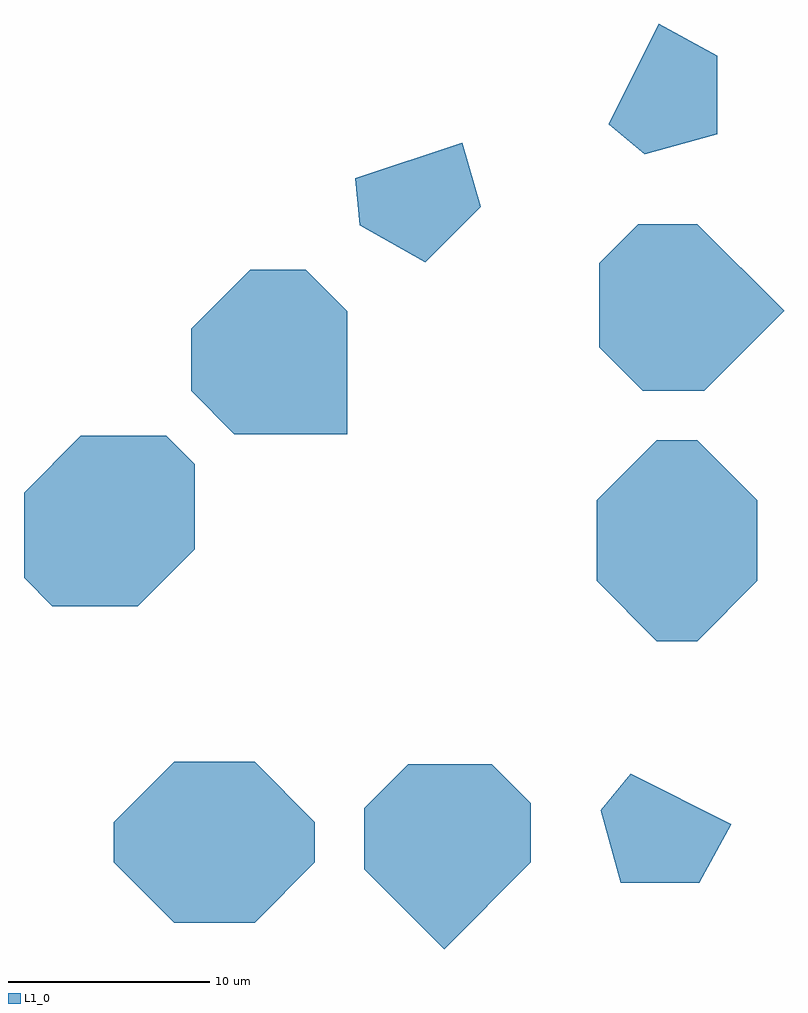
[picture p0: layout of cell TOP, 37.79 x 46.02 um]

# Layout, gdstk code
from math import pi, radians
import gdstk
lib = gdstk.Library(unit=1e-6, precision=1e-09)
def P(c, l, *ps):  # polygons
    for p in ps: c.add(gdstk.Polygon(p, *l))
L1_0 = (1, 0)
L1000_0 = (1000, 0)
L1001_0 = (1001, 0)
L1002_0 = (1002, 0)
L1003_0 = (1003, 0)
L1004_0 = (1004, 0)
L1005_0 = (1005, 0)

inside = lib.new_cell('INSIDE')
P(inside, L1_0, [(3,1.319),(0,4.319),(0,6.319),(3,9.319),(7,9.319),(10,6.319),(10,4.319),(7,1.319)],
  [(16.419,0),(12.45,3.969),(12.45,7.019),(14.625,9.194),(18.8,9.194),(20.738,7.256),(20.738,4.319)],
  [(25.2,3.319),(24.2,6.919),(25.7,8.719),(30.7,6.219),(29.1,3.319)])

top = lib.new_cell('TOP')
top.add(gdstk.FlexPath([(29.1,2),(25.2,2)], 0, ends="flush", simple_path=True, layer=1000, datatype=0))  # L1000_0
top.add(gdstk.FlexPath([(12.45,2.65),(12.45,5.7)], 0, ends="flush", simple_path=True, layer=1000, datatype=0))  # L1000_0
top.add(gdstk.FlexPath([(14.625,7.875),(18.8,7.875)], 0, ends="flush", simple_path=True, layer=1000, datatype=0))  # L1000_0
top.add(gdstk.FlexPath([(20.738,5.937),(20.738,3)], 0, ends="flush", simple_path=True, layer=1000, datatype=0))  # L1000_0
top.add(gdstk.FlexPath([(0,3),(0,5)], 0, ends="flush", simple_path=True, layer=1000, datatype=0))  # L1000_0
top.add(gdstk.FlexPath([(3,8),(7,8)], 0, ends="flush", simple_path=True, layer=1000, datatype=0))  # L1000_0
top.add(gdstk.FlexPath([(10,5),(10,3)], 0, ends="flush", simple_path=True, layer=1000, datatype=0))  # L1000_0
top.add(gdstk.FlexPath([(7,0),(3,0)], 0, ends="flush", simple_path=True, layer=1000, datatype=0))  # L1000_0
top.add(gdstk.FlexPath([(24,17),(24,21)], 0, ends="flush", simple_path=True, layer=1000, datatype=0))  # L1000_0
top.add(gdstk.FlexPath([(27,24),(29,24)], 0, ends="flush", simple_path=True, layer=1000, datatype=0))  # L1000_0
top.add(gdstk.FlexPath([(32,21),(32,17)], 0, ends="flush", simple_path=True, layer=1000, datatype=0))  # L1000_0
top.add(gdstk.FlexPath([(29,14),(27,14)], 0, ends="flush", simple_path=True, layer=1000, datatype=0))  # L1000_0
top.add(gdstk.FlexPath([(-4.468,17.149),(-4.468,21.392)], 0, ends="flush", simple_path=True, layer=1000, datatype=0))  # L1000_0
top.add(gdstk.FlexPath([(-1.64,24.22),(2.603,24.22)], 0, ends="flush", simple_path=True, layer=1000, datatype=0))  # L1000_0
top.add(gdstk.FlexPath([(4.017,22.806),(4.017,18.563)], 0, ends="flush", simple_path=True, layer=1000, datatype=0))  # L1000_0
top.add(gdstk.FlexPath([(1.189,15.735),(-3.054,15.735)], 0, ends="flush", simple_path=True, layer=1000, datatype=0))  # L1000_0
top.add(gdstk.FlexPath([(3.84,26.448),(3.84,29.524)], 0, ends="flush", simple_path=True, layer=1000, datatype=0))  # L1000_0
top.add(gdstk.FlexPath([(6.792,32.476),(9.533,32.476)], 0, ends="flush", simple_path=True, layer=1000, datatype=0))  # L1000_0
top.add(gdstk.FlexPath([(11.61,30.399),(11.61,24.291)], 0, ends="flush", simple_path=True, layer=1000, datatype=0))  # L1000_0
top.add(gdstk.FlexPath([(11.61,24.291),(5.997,24.291)], 0, ends="flush", simple_path=True, layer=1000, datatype=0))  # L1000_0
top.add(gdstk.FlexPath([(24.125,28.625),(24.125,32.8)], 0, ends="flush", simple_path=True, layer=1000, datatype=0))  # L1000_0
top.add(gdstk.FlexPath([(26.063,34.738),(29,34.738)], 0, ends="flush", simple_path=True, layer=1000, datatype=0))  # L1000_0
top.add(gdstk.FlexPath([(29.35,26.45),(26.3,26.45)], 0, ends="flush", simple_path=True, layer=1000, datatype=0))  # L1000_0
top.add(gdstk.FlexPath([(30,43.1),(30,39.2)], 0, ends="flush", simple_path=True, layer=1000, datatype=0))  # L1000_0
top.add(gdstk.FlexPath([(25.2,2),(24.2,5.6)], 0, ends="flush", simple_path=True, layer=1001, datatype=0))  # L1001_0
top.add(gdstk.FlexPath([(24.2,5.6),(25.7,7.4)], 0, ends="flush", simple_path=True, layer=1001, datatype=0))  # L1001_0
top.add(gdstk.FlexPath([(25.7,7.4),(30.7,4.9)], 0, ends="flush", simple_path=True, layer=1001, datatype=0))  # L1001_0
top.add(gdstk.FlexPath([(30.7,4.9),(29.1,2)], 0, ends="flush", simple_path=True, layer=1001, datatype=0))  # L1001_0
top.add(gdstk.FlexPath([(16.419,-1.319),(12.45,2.65)], 0, ends="flush", simple_path=True, layer=1001, datatype=0))  # L1001_0
top.add(gdstk.FlexPath([(12.45,5.7),(14.625,7.875)], 0, ends="flush", simple_path=True, layer=1001, datatype=0))  # L1001_0
top.add(gdstk.FlexPath([(18.8,7.875),(20.738,5.937)], 0, ends="flush", simple_path=True, layer=1001, datatype=0))  # L1001_0
top.add(gdstk.FlexPath([(20.738,3),(16.419,-1.319)], 0, ends="flush", simple_path=True, layer=1001, datatype=0))  # L1001_0
top.add(gdstk.FlexPath([(3,0),(0,3)], 0, ends="flush", simple_path=True, layer=1001, datatype=0))  # L1001_0
top.add(gdstk.FlexPath([(0,5),(3,8)], 0, ends="flush", simple_path=True, layer=1001, datatype=0))  # L1001_0
top.add(gdstk.FlexPath([(7,8),(10,5)], 0, ends="flush", simple_path=True, layer=1001, datatype=0))  # L1001_0
top.add(gdstk.FlexPath([(10,3),(7,0)], 0, ends="flush", simple_path=True, layer=1001, datatype=0))  # L1001_0
top.add(gdstk.FlexPath([(27,14),(24,17)], 0, ends="flush", simple_path=True, layer=1001, datatype=0))  # L1001_0
top.add(gdstk.FlexPath([(24,21),(27,24)], 0, ends="flush", simple_path=True, layer=1001, datatype=0))  # L1001_0
top.add(gdstk.FlexPath([(29,24),(32,21)], 0, ends="flush", simple_path=True, layer=1001, datatype=0))  # L1001_0
top.add(gdstk.FlexPath([(32,17),(29,14)], 0, ends="flush", simple_path=True, layer=1001, datatype=0))  # L1001_0
top.add(gdstk.FlexPath([(-3.054,15.735),(-4.468,17.149)], 0, ends="flush", simple_path=True, layer=1001, datatype=0))  # L1001_0
top.add(gdstk.FlexPath([(-4.468,21.392),(-1.64,24.22)], 0, ends="flush", simple_path=True, layer=1001, datatype=0))  # L1001_0
top.add(gdstk.FlexPath([(2.603,24.22),(4.017,22.806)], 0, ends="flush", simple_path=True, layer=1001, datatype=0))  # L1001_0
top.add(gdstk.FlexPath([(4.017,18.563),(1.189,15.735)], 0, ends="flush", simple_path=True, layer=1001, datatype=0))  # L1001_0
top.add(gdstk.FlexPath([(5.997,24.291),(3.84,26.448)], 0, ends="flush", simple_path=True, layer=1001, datatype=0))  # L1001_0
top.add(gdstk.FlexPath([(3.84,29.524),(6.792,32.476)], 0, ends="flush", simple_path=True, layer=1001, datatype=0))  # L1001_0
top.add(gdstk.FlexPath([(9.533,32.476),(11.61,30.399)], 0, ends="flush", simple_path=True, layer=1001, datatype=0))  # L1001_0
top.add(gdstk.FlexPath([(26.3,26.45),(24.125,28.625)], 0, ends="flush", simple_path=True, layer=1001, datatype=0))  # L1001_0
top.add(gdstk.FlexPath([(24.125,32.8),(26.063,34.738)], 0, ends="flush", simple_path=True, layer=1001, datatype=0))  # L1001_0
top.add(gdstk.FlexPath([(29,34.738),(33.319,30.419)], 0, ends="flush", simple_path=True, layer=1001, datatype=0))  # L1001_0
top.add(gdstk.FlexPath([(33.319,30.419),(29.35,26.45)], 0, ends="flush", simple_path=True, layer=1001, datatype=0))  # L1001_0
top.add(gdstk.FlexPath([(15.472,32.847),(12.22,34.685)], 0, ends="flush", simple_path=True, layer=1001, datatype=0))  # L1001_0
top.add(gdstk.FlexPath([(12.22,34.685),(12.007,37.019)], 0, ends="flush", simple_path=True, layer=1001, datatype=0))  # L1001_0
top.add(gdstk.FlexPath([(12.007,37.019),(17.311,38.787)], 0, ends="flush", simple_path=True, layer=1001, datatype=0))  # L1001_0
top.add(gdstk.FlexPath([(17.311,38.787),(18.23,35.605)], 0, ends="flush", simple_path=True, layer=1001, datatype=0))  # L1001_0
top.add(gdstk.FlexPath([(18.23,35.605),(15.472,32.847)], 0, ends="flush", simple_path=True, layer=1001, datatype=0))  # L1001_0
top.add(gdstk.FlexPath([(26.4,38.2),(24.6,39.7)], 0, ends="flush", simple_path=True, layer=1001, datatype=0))  # L1001_0
top.add(gdstk.FlexPath([(24.6,39.7),(27.1,44.7)], 0, ends="flush", simple_path=True, layer=1001, datatype=0))  # L1001_0
top.add(gdstk.FlexPath([(27.1,44.7),(30,43.1)], 0, ends="flush", simple_path=True, layer=1001, datatype=0))  # L1001_0
top.add(gdstk.FlexPath([(30,39.2),(26.4,38.2)], 0, ends="flush", simple_path=True, layer=1001, datatype=0))  # L1001_0
top.add(gdstk.FlexPath([(29.1,2),(25.2,2)], 0, ends="flush", simple_path=True, layer=1002, datatype=0))  # L1002_0
top.add(gdstk.FlexPath([(16.419,-1.319),(12.45,2.65)], 0, ends="flush", simple_path=True, layer=1002, datatype=0))  # L1002_0
top.add(gdstk.FlexPath([(12.45,2.65),(12.45,5.7)], 0, ends="flush", simple_path=True, layer=1002, datatype=0))  # L1002_0
top.add(gdstk.FlexPath([(12.45,5.7),(14.625,7.875)], 0, ends="flush", simple_path=True, layer=1002, datatype=0))  # L1002_0
top.add(gdstk.FlexPath([(14.625,7.875),(18.8,7.875)], 0, ends="flush", simple_path=True, layer=1002, datatype=0))  # L1002_0
top.add(gdstk.FlexPath([(18.8,7.875),(20.738,5.937)], 0, ends="flush", simple_path=True, layer=1002, datatype=0))  # L1002_0
top.add(gdstk.FlexPath([(20.738,5.937),(20.738,3)], 0, ends="flush", simple_path=True, layer=1002, datatype=0))  # L1002_0
top.add(gdstk.FlexPath([(20.738,3),(16.419,-1.319)], 0, ends="flush", simple_path=True, layer=1002, datatype=0))  # L1002_0
top.add(gdstk.FlexPath([(3,0),(0,3)], 0, ends="flush", simple_path=True, layer=1002, datatype=0))  # L1002_0
top.add(gdstk.FlexPath([(0,3),(0,5)], 0, ends="flush", simple_path=True, layer=1002, datatype=0))  # L1002_0
top.add(gdstk.FlexPath([(0,5),(3,8)], 0, ends="flush", simple_path=True, layer=1002, datatype=0))  # L1002_0
top.add(gdstk.FlexPath([(3,8),(7,8)], 0, ends="flush", simple_path=True, layer=1002, datatype=0))  # L1002_0
top.add(gdstk.FlexPath([(7,8),(10,5)], 0, ends="flush", simple_path=True, layer=1002, datatype=0))  # L1002_0
top.add(gdstk.FlexPath([(10,5),(10,3)], 0, ends="flush", simple_path=True, layer=1002, datatype=0))  # L1002_0
top.add(gdstk.FlexPath([(10,3),(7,0)], 0, ends="flush", simple_path=True, layer=1002, datatype=0))  # L1002_0
top.add(gdstk.FlexPath([(7,0),(3,0)], 0, ends="flush", simple_path=True, layer=1002, datatype=0))  # L1002_0
top.add(gdstk.FlexPath([(27,14),(24,17)], 0, ends="flush", simple_path=True, layer=1002, datatype=0))  # L1002_0
top.add(gdstk.FlexPath([(24,17),(24,21)], 0, ends="flush", simple_path=True, layer=1002, datatype=0))  # L1002_0
top.add(gdstk.FlexPath([(24,21),(27,24)], 0, ends="flush", simple_path=True, layer=1002, datatype=0))  # L1002_0
top.add(gdstk.FlexPath([(27,24),(29,24)], 0, ends="flush", simple_path=True, layer=1002, datatype=0))  # L1002_0
top.add(gdstk.FlexPath([(29,24),(32,21)], 0, ends="flush", simple_path=True, layer=1002, datatype=0))  # L1002_0
top.add(gdstk.FlexPath([(32,21),(32,17)], 0, ends="flush", simple_path=True, layer=1002, datatype=0))  # L1002_0
top.add(gdstk.FlexPath([(32,17),(29,14)], 0, ends="flush", simple_path=True, layer=1002, datatype=0))  # L1002_0
top.add(gdstk.FlexPath([(29,14),(27,14)], 0, ends="flush", simple_path=True, layer=1002, datatype=0))  # L1002_0
top.add(gdstk.FlexPath([(-3.054,15.735),(-4.468,17.149)], 0, ends="flush", simple_path=True, layer=1002, datatype=0))  # L1002_0
top.add(gdstk.FlexPath([(-4.468,17.149),(-4.468,21.392)], 0, ends="flush", simple_path=True, layer=1002, datatype=0))  # L1002_0
top.add(gdstk.FlexPath([(-4.468,21.392),(-1.64,24.22)], 0, ends="flush", simple_path=True, layer=1002, datatype=0))  # L1002_0
top.add(gdstk.FlexPath([(-1.64,24.22),(2.603,24.22)], 0, ends="flush", simple_path=True, layer=1002, datatype=0))  # L1002_0
top.add(gdstk.FlexPath([(2.603,24.22),(4.017,22.806)], 0, ends="flush", simple_path=True, layer=1002, datatype=0))  # L1002_0
top.add(gdstk.FlexPath([(4.017,22.806),(4.017,18.563)], 0, ends="flush", simple_path=True, layer=1002, datatype=0))  # L1002_0
top.add(gdstk.FlexPath([(4.017,18.563),(1.189,15.735)], 0, ends="flush", simple_path=True, layer=1002, datatype=0))  # L1002_0
top.add(gdstk.FlexPath([(1.189,15.735),(-3.054,15.735)], 0, ends="flush", simple_path=True, layer=1002, datatype=0))  # L1002_0
top.add(gdstk.FlexPath([(5.997,24.291),(3.84,26.448)], 0, ends="flush", simple_path=True, layer=1002, datatype=0))  # L1002_0
top.add(gdstk.FlexPath([(3.84,26.448),(3.84,29.524)], 0, ends="flush", simple_path=True, layer=1002, datatype=0))  # L1002_0
top.add(gdstk.FlexPath([(3.84,29.524),(6.792,32.476)], 0, ends="flush", simple_path=True, layer=1002, datatype=0))  # L1002_0
top.add(gdstk.FlexPath([(6.792,32.476),(9.533,32.476)], 0, ends="flush", simple_path=True, layer=1002, datatype=0))  # L1002_0
top.add(gdstk.FlexPath([(9.533,32.476),(11.61,30.399)], 0, ends="flush", simple_path=True, layer=1002, datatype=0))  # L1002_0
top.add(gdstk.FlexPath([(11.61,30.399),(11.61,24.291)], 0, ends="flush", simple_path=True, layer=1002, datatype=0))  # L1002_0
top.add(gdstk.FlexPath([(11.61,24.291),(5.997,24.291)], 0, ends="flush", simple_path=True, layer=1002, datatype=0))  # L1002_0
top.add(gdstk.FlexPath([(26.3,26.45),(24.125,28.625)], 0, ends="flush", simple_path=True, layer=1002, datatype=0))  # L1002_0
top.add(gdstk.FlexPath([(24.125,28.625),(24.125,32.8)], 0, ends="flush", simple_path=True, layer=1002, datatype=0))  # L1002_0
top.add(gdstk.FlexPath([(24.125,32.8),(26.063,34.738)], 0, ends="flush", simple_path=True, layer=1002, datatype=0))  # L1002_0
top.add(gdstk.FlexPath([(26.063,34.738),(29,34.738)], 0, ends="flush", simple_path=True, layer=1002, datatype=0))  # L1002_0
top.add(gdstk.FlexPath([(29,34.738),(33.319,30.419)], 0, ends="flush", simple_path=True, layer=1002, datatype=0))  # L1002_0
top.add(gdstk.FlexPath([(33.319,30.419),(29.35,26.45)], 0, ends="flush", simple_path=True, layer=1002, datatype=0))  # L1002_0
top.add(gdstk.FlexPath([(29.35,26.45),(26.3,26.45)], 0, ends="flush", simple_path=True, layer=1002, datatype=0))  # L1002_0
top.add(gdstk.FlexPath([(18.23,35.605),(15.472,32.847)], 0, ends="flush", simple_path=True, layer=1002, datatype=0))  # L1002_0
top.add(gdstk.FlexPath([(30,43.1),(30,39.2)], 0, ends="flush", simple_path=True, layer=1002, datatype=0))  # L1002_0
top.add(gdstk.FlexPath([(25.2,2),(24.2,5.6)], 0, ends="flush", simple_path=True, layer=1003, datatype=0))  # L1003_0
top.add(gdstk.FlexPath([(24.2,5.6),(25.7,7.4)], 0, ends="flush", simple_path=True, layer=1003, datatype=0))  # L1003_0
top.add(gdstk.FlexPath([(25.7,7.4),(30.7,4.9)], 0, ends="flush", simple_path=True, layer=1003, datatype=0))  # L1003_0
top.add(gdstk.FlexPath([(30.7,4.9),(29.1,2)], 0, ends="flush", simple_path=True, layer=1003, datatype=0))  # L1003_0
top.add(gdstk.FlexPath([(15.472,32.847),(12.22,34.685)], 0, ends="flush", simple_path=True, layer=1003, datatype=0))  # L1003_0
top.add(gdstk.FlexPath([(12.22,34.685),(12.007,37.019)], 0, ends="flush", simple_path=True, layer=1003, datatype=0))  # L1003_0
top.add(gdstk.FlexPath([(12.007,37.019),(17.311,38.787)], 0, ends="flush", simple_path=True, layer=1003, datatype=0))  # L1003_0
top.add(gdstk.FlexPath([(17.311,38.787),(18.23,35.605)], 0, ends="flush", simple_path=True, layer=1003, datatype=0))  # L1003_0
top.add(gdstk.FlexPath([(26.4,38.2),(24.6,39.7)], 0, ends="flush", simple_path=True, layer=1003, datatype=0))  # L1003_0
top.add(gdstk.FlexPath([(24.6,39.7),(27.1,44.7)], 0, ends="flush", simple_path=True, layer=1003, datatype=0))  # L1003_0
top.add(gdstk.FlexPath([(27.1,44.7),(30,43.1)], 0, ends="flush", simple_path=True, layer=1003, datatype=0))  # L1003_0
top.add(gdstk.FlexPath([(30,39.2),(26.4,38.2)], 0, ends="flush", simple_path=True, layer=1003, datatype=0))  # L1003_0
top.add(gdstk.FlexPath([(16.419,-1.319),(12.45,2.65)], 0, ends="flush", simple_path=True, layer=1004, datatype=0))  # L1004_0
top.add(gdstk.FlexPath([(12.45,5.7),(14.625,7.875)], 0, ends="flush", simple_path=True, layer=1004, datatype=0))  # L1004_0
top.add(gdstk.FlexPath([(18.8,7.875),(20.738,5.937)], 0, ends="flush", simple_path=True, layer=1004, datatype=0))  # L1004_0
top.add(gdstk.FlexPath([(20.738,3),(16.419,-1.319)], 0, ends="flush", simple_path=True, layer=1004, datatype=0))  # L1004_0
top.add(gdstk.FlexPath([(3,0),(0,3)], 0, ends="flush", simple_path=True, layer=1004, datatype=0))  # L1004_0
top.add(gdstk.FlexPath([(0,5),(3,8)], 0, ends="flush", simple_path=True, layer=1004, datatype=0))  # L1004_0
top.add(gdstk.FlexPath([(7,8),(10,5)], 0, ends="flush", simple_path=True, layer=1004, datatype=0))  # L1004_0
top.add(gdstk.FlexPath([(10,3),(7,0)], 0, ends="flush", simple_path=True, layer=1004, datatype=0))  # L1004_0
top.add(gdstk.FlexPath([(27,14),(24,17)], 0, ends="flush", simple_path=True, layer=1004, datatype=0))  # L1004_0
top.add(gdstk.FlexPath([(24,21),(27,24)], 0, ends="flush", simple_path=True, layer=1004, datatype=0))  # L1004_0
top.add(gdstk.FlexPath([(29,24),(32,21)], 0, ends="flush", simple_path=True, layer=1004, datatype=0))  # L1004_0
top.add(gdstk.FlexPath([(32,17),(29,14)], 0, ends="flush", simple_path=True, layer=1004, datatype=0))  # L1004_0
top.add(gdstk.FlexPath([(-3.054,15.735),(-4.468,17.149)], 0, ends="flush", simple_path=True, layer=1004, datatype=0))  # L1004_0
top.add(gdstk.FlexPath([(-4.468,21.392),(-1.64,24.22)], 0, ends="flush", simple_path=True, layer=1004, datatype=0))  # L1004_0
top.add(gdstk.FlexPath([(2.603,24.22),(4.017,22.806)], 0, ends="flush", simple_path=True, layer=1004, datatype=0))  # L1004_0
top.add(gdstk.FlexPath([(4.017,18.563),(1.189,15.735)], 0, ends="flush", simple_path=True, layer=1004, datatype=0))  # L1004_0
top.add(gdstk.FlexPath([(5.997,24.291),(3.84,26.448)], 0, ends="flush", simple_path=True, layer=1004, datatype=0))  # L1004_0
top.add(gdstk.FlexPath([(3.84,29.524),(6.792,32.476)], 0, ends="flush", simple_path=True, layer=1004, datatype=0))  # L1004_0
top.add(gdstk.FlexPath([(9.533,32.476),(11.61,30.399)], 0, ends="flush", simple_path=True, layer=1004, datatype=0))  # L1004_0
top.add(gdstk.FlexPath([(26.3,26.45),(24.125,28.625)], 0, ends="flush", simple_path=True, layer=1004, datatype=0))  # L1004_0
top.add(gdstk.FlexPath([(24.125,32.8),(26.063,34.738)], 0, ends="flush", simple_path=True, layer=1004, datatype=0))  # L1004_0
top.add(gdstk.FlexPath([(29,34.738),(33.319,30.419)], 0, ends="flush", simple_path=True, layer=1004, datatype=0))  # L1004_0
top.add(gdstk.FlexPath([(33.319,30.419),(29.35,26.45)], 0, ends="flush", simple_path=True, layer=1004, datatype=0))  # L1004_0
top.add(gdstk.FlexPath([(18.23,35.605),(15.472,32.847)], 0, ends="flush", simple_path=True, layer=1004, datatype=0))  # L1004_0
top.add(gdstk.FlexPath([(25.2,2),(24.2,5.6)], 0, ends="flush", simple_path=True, layer=1005, datatype=0))  # L1005_0
top.add(gdstk.FlexPath([(24.2,5.6),(25.7,7.4)], 0, ends="flush", simple_path=True, layer=1005, datatype=0))  # L1005_0
top.add(gdstk.FlexPath([(25.7,7.4),(30.7,4.9)], 0, ends="flush", simple_path=True, layer=1005, datatype=0))  # L1005_0
top.add(gdstk.FlexPath([(30.7,4.9),(29.1,2)], 0, ends="flush", simple_path=True, layer=1005, datatype=0))  # L1005_0
top.add(gdstk.FlexPath([(29.1,2),(25.2,2)], 0, ends="flush", simple_path=True, layer=1005, datatype=0))  # L1005_0
top.add(gdstk.FlexPath([(12.45,2.65),(12.45,5.7)], 0, ends="flush", simple_path=True, layer=1005, datatype=0))  # L1005_0
top.add(gdstk.FlexPath([(14.625,7.875),(18.8,7.875)], 0, ends="flush", simple_path=True, layer=1005, datatype=0))  # L1005_0
top.add(gdstk.FlexPath([(20.738,5.937),(20.738,3)], 0, ends="flush", simple_path=True, layer=1005, datatype=0))  # L1005_0
top.add(gdstk.FlexPath([(0,3),(0,5)], 0, ends="flush", simple_path=True, layer=1005, datatype=0))  # L1005_0
top.add(gdstk.FlexPath([(3,8),(7,8)], 0, ends="flush", simple_path=True, layer=1005, datatype=0))  # L1005_0
top.add(gdstk.FlexPath([(10,5),(10,3)], 0, ends="flush", simple_path=True, layer=1005, datatype=0))  # L1005_0
top.add(gdstk.FlexPath([(7,0),(3,0)], 0, ends="flush", simple_path=True, layer=1005, datatype=0))  # L1005_0
top.add(gdstk.FlexPath([(24,17),(24,21)], 0, ends="flush", simple_path=True, layer=1005, datatype=0))  # L1005_0
top.add(gdstk.FlexPath([(27,24),(29,24)], 0, ends="flush", simple_path=True, layer=1005, datatype=0))  # L1005_0
top.add(gdstk.FlexPath([(32,21),(32,17)], 0, ends="flush", simple_path=True, layer=1005, datatype=0))  # L1005_0
top.add(gdstk.FlexPath([(29,14),(27,14)], 0, ends="flush", simple_path=True, layer=1005, datatype=0))  # L1005_0
top.add(gdstk.FlexPath([(-4.468,17.149),(-4.468,21.392)], 0, ends="flush", simple_path=True, layer=1005, datatype=0))  # L1005_0
top.add(gdstk.FlexPath([(-1.64,24.22),(2.603,24.22)], 0, ends="flush", simple_path=True, layer=1005, datatype=0))  # L1005_0
top.add(gdstk.FlexPath([(4.017,22.806),(4.017,18.563)], 0, ends="flush", simple_path=True, layer=1005, datatype=0))  # L1005_0
top.add(gdstk.FlexPath([(1.189,15.735),(-3.054,15.735)], 0, ends="flush", simple_path=True, layer=1005, datatype=0))  # L1005_0
top.add(gdstk.FlexPath([(3.84,26.448),(3.84,29.524)], 0, ends="flush", simple_path=True, layer=1005, datatype=0))  # L1005_0
top.add(gdstk.FlexPath([(6.792,32.476),(9.533,32.476)], 0, ends="flush", simple_path=True, layer=1005, datatype=0))  # L1005_0
top.add(gdstk.FlexPath([(11.61,30.399),(11.61,24.291)], 0, ends="flush", simple_path=True, layer=1005, datatype=0))  # L1005_0
top.add(gdstk.FlexPath([(11.61,24.291),(5.997,24.291)], 0, ends="flush", simple_path=True, layer=1005, datatype=0))  # L1005_0
top.add(gdstk.FlexPath([(24.125,28.625),(24.125,32.8)], 0, ends="flush", simple_path=True, layer=1005, datatype=0))  # L1005_0
top.add(gdstk.FlexPath([(26.063,34.738),(29,34.738)], 0, ends="flush", simple_path=True, layer=1005, datatype=0))  # L1005_0
top.add(gdstk.FlexPath([(29.35,26.45),(26.3,26.45)], 0, ends="flush", simple_path=True, layer=1005, datatype=0))  # L1005_0
top.add(gdstk.FlexPath([(15.472,32.847),(12.22,34.685)], 0, ends="flush", simple_path=True, layer=1005, datatype=0))  # L1005_0
top.add(gdstk.FlexPath([(12.22,34.685),(12.007,37.019)], 0, ends="flush", simple_path=True, layer=1005, datatype=0))  # L1005_0
top.add(gdstk.FlexPath([(12.007,37.019),(17.311,38.787)], 0, ends="flush", simple_path=True, layer=1005, datatype=0))  # L1005_0
top.add(gdstk.FlexPath([(17.311,38.787),(18.23,35.605)], 0, ends="flush", simple_path=True, layer=1005, datatype=0))  # L1005_0
top.add(gdstk.FlexPath([(26.4,38.2),(24.6,39.7)], 0, ends="flush", simple_path=True, layer=1005, datatype=0))  # L1005_0
top.add(gdstk.FlexPath([(24.6,39.7),(27.1,44.7)], 0, ends="flush", simple_path=True, layer=1005, datatype=0))  # L1005_0
top.add(gdstk.FlexPath([(27.1,44.7),(30,43.1)], 0, ends="flush", simple_path=True, layer=1005, datatype=0))  # L1005_0
top.add(gdstk.FlexPath([(30,43.1),(30,39.2)], 0, ends="flush", simple_path=True, layer=1005, datatype=0))  # L1005_0
top.add(gdstk.FlexPath([(30,39.2),(26.4,38.2)], 0, ends="flush", simple_path=True, layer=1005, datatype=0))  # L1005_0
top.add(gdstk.Reference(inside, (0,-1.319)))
top.add(gdstk.Reference(inside, (0,12.681), rotation=radians(45)))
top.add(gdstk.Reference(inside, (33.319,14), rotation=pi/2))

lib.write_gds('TOP.gds')
